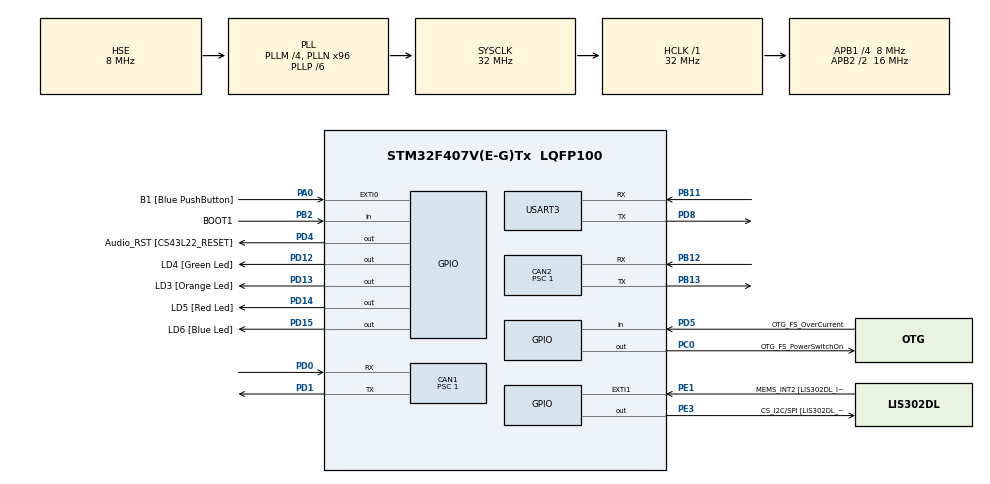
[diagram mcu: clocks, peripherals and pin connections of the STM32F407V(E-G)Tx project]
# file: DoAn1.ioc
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CAN1.BS1=CAN_BS1_11TQ
CAN1.BS2=CAN_BS2_4TQ
CAN1.CalculateBaudRate=500000
CAN1.CalculateTimeBit=2000
CAN1.CalculateTimeQuantum=125.0
CAN1.Prescaler=1
CAN1.SJW=CAN_SJW_2TQ
CAN2.BS1=CAN_BS1_11TQ
CAN2.BS2=CAN_BS2_4TQ
CAN2.CalculateBaudRate=500000
CAN2.CalculateTimeBit=2000
CAN2.CalculateTimeQuantum=125.0
CAN2.Prescaler=1
CAN2.SJW=CAN_SJW_2TQ
Mcu.Family=STM32F4
Mcu.Name=STM32F407V(E-G)Tx
Mcu.Package=LQFP100
NVIC.CAN1_RX0_IRQn=true\:2\:0\:true\:false\:true\:true\:true\:true
NVIC.CAN2_RX0_IRQn=true\:2\:0\:true\:false\:true\:true\:true\:true
NVIC.EXTI1_IRQn=true\:3\:0\:true\:false\:true\:true\:true\:true
NVIC.PriorityGroup=NVIC_PRIORITYGROUP_2
NVIC.USART3_IRQn=true\:1\:0\:true\:false\:true\:true\:true\:true
PA0-WKUP.GPIO_Label=B1 [Blue PushButton]
PA0-WKUP.GPIO_ModeDefaultEXTI=GPIO_MODE_EVT_RISING
PA0-WKUP.GPIO_PuPd=GPIO_NOPULL
PA0-WKUP.Signal=GPXTI0
PA10.GPIO_Label=OTG_FS_ID
PA10.GPIO_Mode=GPIO_MODE_AF_PP
PA10.GPIO_PuPd=GPIO_NOPULL
PA10.GPIO_Speed=GPIO_SPEED_FREQ_LOW
PA10.Signal=USB_OTG_FS_ID
PA11.GPIO_Label=OTG_FS_DM
PA11.GPIO_Mode=GPIO_MODE_AF_PP
PA11.GPIO_PuPd=GPIO_NOPULL
PA11.GPIO_Speed=GPIO_SPEED_FREQ_LOW
PA11.Signal=USB_OTG_FS_DM
PA12.GPIO_Label=OTG_FS_DP
PA12.GPIO_Mode=GPIO_MODE_AF_PP
PA12.GPIO_PuPd=GPIO_NOPULL
PA12.GPIO_Speed=GPIO_SPEED_FREQ_LOW
PA12.Signal=USB_OTG_FS_DP
PA13.GPIO_Label=SWDIO
PA13.Mode=Serial_Wire
PA13.Signal=SYS_JTMS-SWDIO
PA14.GPIO_Label=SWCLK
PA14.Mode=Serial_Wire
PA14.Signal=SYS_JTCK-SWCLK
PA4.GPIO_Label=I2S3_WS [CS43L22_LRCK]
PA4.GPIO_Mode=GPIO_MODE_AF_PP
PA4.GPIO_PuPd=GPIO_NOPULL
PA4.GPIO_Speed=GPIO_SPEED_FREQ_LOW
PA4.Signal=I2S3_WS
PA5.GPIO_Label=SPI1_SCK [LIS302DL_SCL/SPC]
PA5.GPIO_Mode=GPIO_MODE_AF_PP
PA5.GPIO_PuPd=GPIO_NOPULL
PA5.GPIO_Speed=GPIO_SPEED_FREQ_LOW
PA5.Signal=SPI1_SCK
PA6.GPIO_Label=SPI1_MISO [LIS302DL_SDO]
PA6.GPIO_Mode=GPIO_MODE_AF_PP
PA6.GPIO_PuPd=GPIO_NOPULL
PA6.GPIO_Speed=GPIO_SPEED_FREQ_LOW
PA6.Signal=SPI1_MISO
PA7.GPIO_Label=SPI1_MOSI [LIS302DL_SDA/SDI/SDO]
PA7.GPIO_Mode=GPIO_MODE_AF_PP
PA7.GPIO_PuPd=GPIO_NOPULL
PA7.GPIO_Speed=GPIO_SPEED_FREQ_LOW
PA7.Signal=SPI1_MOSI
PA9.GPIO_Label=VBUS_FS
PA9.GPIO_Mode=GPIO_MODE_INPUT
PA9.GPIO_PuPd=GPIO_NOPULL
PA9.Signal=USB_OTG_FS_VBUS
PB10.GPIO_Label=CLK_IN [MP45DT02_CLK]
PB10.GPIO_Mode=GPIO_MODE_AF_PP
PB10.GPIO_PuPd=GPIO_NOPULL
PB10.GPIO_Speed=GPIO_SPEED_FREQ_LOW
PB10.Signal=I2S2_CK
PB11.Mode=Asynchronous
PB11.Signal=USART3_RX
PB12.Mode=CAN_Activate
PB12.Signal=CAN2_RX
PB13.Mode=CAN_Activate
PB13.Signal=CAN2_TX
PB2.GPIO_Label=BOOT1
PB2.GPIO_Mode=GPIO_MODE_INPUT
PB2.GPIO_PuPd=GPIO_NOPULL
PB2.Signal=GPIO_Input
PB3.GPIO_Label=SWO
PB3.Signal=SYS_JTDO-SWO
PB6.GPIO_Label=Audio_SCL [CS43L22_SCL]
PB6.GPIO_Mode=GPIO_MODE_AF_OD
PB6.GPIO_Pu=GPIO_PULLUP
PB6.GPIO_PuPd=GPIO_NOPULL
PB6.GPIO_Speed=GPIO_SPEED_FREQ_LOW
PB6.Signal=I2C1_SCL
PB9.GPIO_Label=Audio_SDA [CS43L22_SDA]
PB9.GPIO_Mode=GPIO_MODE_AF_OD
PB9.GPIO_Pu=GPIO_PULLUP
PB9.GPIO_PuPd=GPIO_NOPULL
PB9.GPIO_Speed=GPIO_SPEED_FREQ_LOW
PB9.Signal=I2C1_SDA
PC0.GPIO_Label=OTG_FS_PowerSwitchOn
PC0.GPIO_PuPd=GPIO_NOPULL
PC0.GPIO_Speed=GPIO_SPEED_FREQ_LOW
PC0.PinState=GPIO_PIN_SET
PC0.Signal=GPIO_Output
PC10.GPIO_Label=I2S3_SCK [CS43L22_SCLK]
PC10.GPIO_Mode=GPIO_MODE_AF_PP
PC10.GPIO_PuPd=GPIO_NOPULL
PC10.GPIO_Speed=GPIO_SPEED_FREQ_LOW
PC10.Signal=I2S3_CK
PC12.GPIO_Label=I2S3_SD [CS43L22_SDIN]
PC12.GPIO_Mode=GPIO_MODE_AF_PP
PC12.GPIO_PuPd=GPIO_NOPULL
PC12.GPIO_Speed=GPIO_SPEED_FREQ_LOW
PC12.Signal=I2S3_SD
PC14-OSC32_IN.GPIO_Label=PC14-OSC32_IN
PC14-OSC32_IN.Mode=LSE-External-Oscillator
PC14-OSC32_IN.Signal=RCC_OSC32_IN
PC15-OSC32_OUT.GPIO_Label=PC15-OSC32_OUT
PC15-OSC32_OUT.Mode=LSE-External-Oscillator
PC15-OSC32_OUT.Signal=RCC_OSC32_OUT
PC3.GPIO_Label=PDM_OUT [MP45DT02_DOUT]
PC3.GPIO_Mode=GPIO_MODE_AF_PP
PC3.GPIO_PuPd=GPIO_NOPULL
PC3.GPIO_Speed=GPIO_SPEED_FREQ_LOW
PC3.Signal=I2S2_SD
PC7.GPIO_Label=I2S3_MCK [CS43L22_MCLK]
PC7.GPIO_Mode=GPIO_MODE_AF_PP
PC7.GPIO_PuPd=GPIO_NOPULL
PC7.GPIO_Speed=GPIO_SPEED_FREQ_LOW
PC7.Signal=I2S3_MCK
PD0.Mode=CAN_Activate
PD0.Signal=CAN1_RX
PD1.Mode=CAN_Activate
PD1.Signal=CAN1_TX
PD12.GPIO_Label=LD4 [Green Led]
PD12.GPIO_PuPd=GPIO_NOPULL
PD12.GPIO_Speed=GPIO_SPEED_FREQ_LOW
PD12.Signal=GPIO_Output
PD13.GPIO_Label=LD3 [Orange Led]
PD13.GPIO_PuPd=GPIO_NOPULL
PD13.GPIO_Speed=GPIO_SPEED_FREQ_LOW
PD13.Signal=GPIO_Output
PD14.GPIO_Label=LD5 [Red Led]
PD14.GPIO_PuPd=GPIO_NOPULL
PD14.GPIO_Speed=GPIO_SPEED_FREQ_LOW
PD14.Signal=GPIO_Output
PD15.GPIO_Label=LD6 [Blue Led]
PD15.GPIO_PuPd=GPIO_NOPULL
PD15.GPIO_Speed=GPIO_SPEED_FREQ_LOW
PD15.Signal=GPIO_Output
PD4.GPIO_Label=Audio_RST [CS43L22_RESET]
PD4.GPIO_PuPd=GPIO_NOPULL
PD4.GPIO_Speed=GPIO_SPEED_FREQ_LOW
PD4.Signal=GPIO_Output
PD5.GPIO_Label=OTG_FS_OverCurrent
PD5.GPIO_Mode=GPIO_MODE_INPUT
PD5.GPIO_PuPd=GPIO_NOPULL
PD5.Signal=GPIO_Input
PD8.Mode=Asynchronous
PD8.Signal=USART3_TX
PE1.GPIO_Label=MEMS_INT2 [LIS302DL_INT2]
PE1.GPIO_ModeDefaultEXTI=GPIO_MODE_IT_FALLING
PE1.GPIO_PuPd=GPIO_PULLUP
PE1.Signal=GPXTI1
PE3.GPIO_Label=CS_I2C/SPI [LIS302DL_CS_I2C/SPI]
PE3.GPIO_PuPd=GPIO_NOPULL
PE3.GPIO_Speed=GPIO_SPEED_FREQ_LOW
PE3.Signal=GPIO_Output
PH0-OSC_IN.GPIO_Label=PH0-OSC_IN
PH0-OSC_IN.Mode=HSE-External-Oscillator
PH0-OSC_IN.Signal=RCC_OSC_IN
PH1-OSC_OUT.GPIO_Label=PH1-OSC_OUT
PH1-OSC_OUT.Mode=HSE-External-Oscillator
PH1-OSC_OUT.Signal=RCC_OSC_OUT
ProjectManager.HeapSize=0x200
ProjectManager.StackSize=0x400
ProjectManager.TargetToolchain=STM32CubeIDE
RCC.48MHZClocksFreq_Value=48000000
RCC.AHBFreq_Value=32000000
RCC.APB1CLKDivider=RCC_HCLK_DIV4
RCC.APB1Freq_Value=8000000
RCC.APB1TimFreq_Value=16000000
RCC.APB2CLKDivider=RCC_HCLK_DIV2
RCC.APB2Freq_Value=16000000
RCC.APB2TimFreq_Value=32000000
RCC.CortexFreq_Value=32000000
RCC.HCLKFreq_Value=32000000
RCC.HSE_VALUE=8000000
RCC.HSI_VALUE=16000000
RCC.PLLI2SN=50
RCC.PLLM=4
RCC.PLLN=96
RCC.PLLP=RCC_PLLP_DIV6
RCC.PLLSourceVirtual=RCC_PLLSOURCE_HSE
RCC.SYSCLKFreq_VALUE=32000000
RCC.SYSCLKSource=RCC_SYSCLKSOURCE_PLLCLK
RCC.VCOOutputFreq_Value=192000000
USART3.VirtualMode=VM_ASYNC
board=STM32F407G-DISC1

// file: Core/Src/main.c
/* USER CODE BEGIN Header */
/**
  ******************************************************************************
  * @file           : main.c
  * @brief          : Main program body
  ******************************************************************************
  * @attention
  *
  * Copyright (c) 2025 STMicroelectronics.
  * All rights reserved.
  *
  * This software is licensed under terms that can be found in the LICENSE file
  * in the root directory of this software component.
  * If no LICENSE file comes with this software, it is provided AS-IS.
  *
  ******************************************************************************
  */
/* USER CODE END Header */
#include "main.h"

UART_HandleTypeDef huart3;
CAN_HandleTypeDef hcan1;
CAN_HandleTypeDef hcan2;
uint8_t uart3_receive;
uint8_t  REQ_1BYTE_DATA;
uint8_t CAN1_DATA_TX[8] = {0x00,0x00,0x00,0x00,0x00,0x00,0x00,0x00};
uint8_t CAN1_DATA_RX[8] = {0x00,0x00,0x00,0x00,0x00,0x00,0x00,0x00};
uint8_t CAN2_DATA_TX[8] = {0x00,0x00,0x00,0x00,0x00,0x00,0x00,0x00};
uint8_t CAN2_DATA_RX[8] = {0x00,0x00,0x00,0x00,0x00,0x00,0x00,0x00};
char bufsend[30]="XXX: D1 D2 D3 D4 D5 D6 D7 D8  ";
CAN_TxHeaderTypeDef CAN1_pHeader;
CAN_RxHeaderTypeDef CAN1_pHeaderRx;
CAN_FilterTypeDef CAN1_sFilterConfig;
CAN_TxHeaderTypeDef CAN2_pHeader;
CAN_RxHeaderTypeDef CAN2_pHeaderRx;
CAN_FilterTypeDef CAN2_sFilterConfig;
uint32_t CAN1_pTxMailbox;
uint32_t CAN2_pTxMailbox;
uint16_t NumBytesReq = 0;
uint8_t  REQ_BUFFER  [4096];
unsigned int TimeStamp;
uint8_t MessageCounter = 0;
uint8_t FlagForBtn = 0;
uint8_t flagCAN2Rx = 0;
/* USER CODE END PV */

void SystemClock_Config(void);
static void MX_GPIO_Init(void);
static void MX_CAN1_Init(void);
static void MX_CAN2_Init(void);
static void MX_USART3_UART_Init(void);
/* USER CODE BEGIN PFP */
uint8_t calc_SAE_J1850(uint8_t data[], uint8_t crc_len, uint8_t check);
void MX_CAN1_Setup();
void MX_CAN2_Setup();
void USART3_SendString(uint8_t *ch);
void PrintCANLog(uint16_t CANID, uint8_t * CAN_Frame);
void delay(uint16_t delay);
/* USER CODE END PFP */

/* USER CODE BEGIN 0 */
void CAN_Tx(CAN_HandleTypeDef *hcan, uint8_t *data_rx, uint8_t *data_tx);
void HAL_CAN_RxFifo0MsgPendingCallback(CAN_HandleTypeDef *hcan);
void HAL_GPIO_EXTI_Callback(uint16_t GPIO_Pin);
/* USER CODE END 0 */

int main(void)
{
  /* MCU Configuration--------------------------------------------------------*/
  /* Reset of all peripherals, Initializes the Flash interface and the Systick. */
  HAL_Init();
  /* Configure the system clock */
  SystemClock_Config();
  /* Initialize all configured peripherals */
  MX_GPIO_Init();
  MX_CAN1_Init();
  MX_CAN2_Init();
  MX_USART3_UART_Init();
  MX_CAN1_Setup();
  MX_CAN2_Setup();
  __HAL_UART_ENABLE_IT(&huart3, UART_IT_RXNE);
  while (1)
  {
	  CAN_Tx(&hcan1, CAN1_DATA_RX, CAN1_DATA_TX);
	  delay(2000);
	  CAN_Tx(&hcan2, CAN2_DATA_RX, CAN2_DATA_TX);
	  delay(1990);
	  MessageCounter = MessageCounter + 1;
  }
  memset(&REQ_BUFFER,0x00,4096);
  NumBytesReq = 0;
}
void SystemClock_Config(void)
{
  RCC_OscInitTypeDef RCC_OscInitStruct = {0};
  RCC_ClkInitTypeDef RCC_ClkInitStruct = {0};

  /** Configure the main internal regulator output voltage
  */
  __HAL_RCC_PWR_CLK_ENABLE();
  __HAL_PWR_VOLTAGESCALING_CONFIG(PWR_REGULATOR_VOLTAGE_SCALE1);

  /** Initializes the RCC Oscillators according to the specified parameters
  * in the RCC_OscInitTypeDef structure.
  */
  RCC_OscInitStruct.OscillatorType = RCC_OSCILLATORTYPE_HSE;
  RCC_OscInitStruct.HSEState = RCC_HSE_ON;
  RCC_OscInitStruct.PLL.PLLState = RCC_PLL_ON;
  RCC_OscInitStruct.PLL.PLLSource = RCC_PLLSOURCE_HSE;
  RCC_OscInitStruct.PLL.PLLM = 4;
  RCC_OscInitStruct.PLL.PLLN = 96;
  RCC_OscInitStruct.PLL.PLLP = RCC_PLLP_DIV6;
  RCC_OscInitStruct.PLL.PLLQ = 4;
  if (HAL_RCC_OscConfig(&RCC_OscInitStruct) != HAL_OK)
  {
    Error_Handler();
  }

  /** Initializes the CPU, AHB and APB buses clocks
  */
  RCC_ClkInitStruct.ClockType = RCC_CLOCKTYPE_HCLK|RCC_CLOCKTYPE_SYSCLK
                              |RCC_CLOCKTYPE_PCLK1|RCC_CLOCKTYPE_PCLK2;
  RCC_ClkInitStruct.SYSCLKSource = RCC_SYSCLKSOURCE_PLLCLK;
  RCC_ClkInitStruct.AHBCLKDivider = RCC_SYSCLK_DIV1;
  RCC_ClkInitStruct.APB1CLKDivider = RCC_HCLK_DIV4;
  RCC_ClkInitStruct.APB2CLKDivider = RCC_HCLK_DIV2;

  if (HAL_RCC_ClockConfig(&RCC_ClkInitStruct, FLASH_LATENCY_1) != HAL_OK)
  {
    Error_Handler();
  }
}

static void MX_CAN1_Init(void)
{

  hcan1.Instance = CAN1;
  hcan1.Init.Prescaler = 1;
  hcan1.Init.Mode = CAN_MODE_NORMAL;
  hcan1.Init.SyncJumpWidth = CAN_SJW_2TQ;
  hcan1.Init.TimeSeg1 = CAN_BS1_11TQ;
  hcan1.Init.TimeSeg2 = CAN_BS2_4TQ;
  hcan1.Init.TimeTriggeredMode = DISABLE;
  hcan1.Init.AutoBusOff = DISABLE;
  hcan1.Init.AutoWakeUp = DISABLE;
  hcan1.Init.AutoRetransmission = DISABLE;
  hcan1.Init.ReceiveFifoLocked = DISABLE;
  hcan1.Init.TransmitFifoPriority = DISABLE;
  if (HAL_CAN_Init(&hcan1) != HAL_OK)
  {
    Error_Handler();
  }
  CAN1_pHeader.StdId = 0x12;
  CAN1_pHeader.DLC = 8;
  CAN1_pHeader.IDE = CAN_ID_STD;
  CAN1_pHeader.RTR = CAN_RTR_DATA;

  CAN1_sFilterConfig.FilterActivation = CAN_FILTER_ENABLE;
  CAN1_sFilterConfig.FilterFIFOAssignment = CAN_RX_FIFO0;
  CAN1_sFilterConfig.SlaveStartFilterBank = 13;
  CAN1_sFilterConfig.FilterBank = 8;
  CAN1_sFilterConfig.FilterMode = CAN_FILTERMODE_IDMASK;
  CAN1_sFilterConfig.FilterScale = CAN_FILTERSCALE_16BIT;
  CAN1_sFilterConfig.FilterIdHigh = 0x0A2 << 5;
  CAN1_sFilterConfig.FilterIdLow = 0;
  CAN1_sFilterConfig.FilterMaskIdHigh = 0x0A2 << 5;
  CAN1_sFilterConfig.FilterMaskIdLow = 0;
}

static void MX_CAN2_Init(void)
{

  /* USER CODE BEGIN CAN2_Init 0 */
	CAN2_pHeader.StdId = 0xA2;
	CAN2_pHeader.DLC = 8;
	CAN2_pHeader.IDE = CAN_ID_STD;
	CAN2_pHeader.RTR = CAN_RTR_DATA;
  /* USER CODE END CAN2_Init 0 */

  hcan2.Instance = CAN2;
  hcan2.Init.Prescaler = 1;
  hcan2.Init.Mode = CAN_MODE_NORMAL;
  hcan2.Init.SyncJumpWidth = CAN_SJW_2TQ;
  hcan2.Init.TimeSeg1 = CAN_BS1_11TQ;
  hcan2.Init.TimeSeg2 = CAN_BS2_4TQ;
  hcan2.Init.TimeTriggeredMode = DISABLE;
  hcan2.Init.AutoBusOff = DISABLE;
  hcan2.Init.AutoWakeUp = DISABLE;
  hcan2.Init.AutoRetransmission = DISABLE;
  hcan2.Init.ReceiveFifoLocked = DISABLE;
  hcan2.Init.TransmitFifoPriority = DISABLE;
  if (HAL_CAN_Init(&hcan2) != HAL_OK)
  {
    Error_Handler();
  }
  /* USER CODE BEGIN CAN2_Init 2 */
  CAN2_sFilterConfig.FilterActivation = CAN_FILTER_ENABLE;
  CAN2_sFilterConfig.FilterFIFOAssignment = CAN_RX_FIFO0;
  CAN2_sFilterConfig.SlaveStartFilterBank = 13;
  CAN2_sFilterConfig.FilterBank = 19;
  CAN2_sFilterConfig.FilterMode = CAN_FILTERMODE_IDMASK;
  CAN2_sFilterConfig.FilterScale = CAN_FILTERSCALE_16BIT;
  CAN2_sFilterConfig.FilterIdHigh = 0x012 << 5;
  CAN2_sFilterConfig.FilterIdLow = 0;
  CAN2_sFilterConfig.FilterMaskIdHigh = 0x012 << 5;
  CAN2_sFilterConfig.FilterMaskIdLow = 0;
  /* USER CODE END CAN2_Init 2 */

}

static void MX_USART3_UART_Init(void)
{

  huart3.Instance = USART3;
  huart3.Init.BaudRate = 115200;
  huart3.Init.WordLength = UART_WORDLENGTH_8B;
  huart3.Init.StopBits = UART_STOPBITS_1;
  huart3.Init.Parity = UART_PARITY_NONE;
  huart3.Init.Mode = UART_MODE_TX_RX;
  huart3.Init.HwFlowCtl = UART_HWCONTROL_NONE;
  huart3.Init.OverSampling = UART_OVERSAMPLING_16;
  if (HAL_UART_Init(&huart3) != HAL_OK)
  {
    Error_Handler();
  }

}

static void MX_GPIO_Init(void)
{
  GPIO_InitTypeDef GPIO_InitStruct = {0};

  /* GPIO Ports Clock Enable */
  __HAL_RCC_GPIOE_CLK_ENABLE();
  __HAL_RCC_GPIOC_CLK_ENABLE();
  __HAL_RCC_GPIOH_CLK_ENABLE();
  __HAL_RCC_GPIOA_CLK_ENABLE();
  __HAL_RCC_GPIOB_CLK_ENABLE();
  __HAL_RCC_GPIOD_CLK_ENABLE();

  /*Configure GPIO pin Output Level */
  HAL_GPIO_WritePin(CS_I2C_SPI_GPIO_Port, CS_I2C_SPI_Pin, GPIO_PIN_RESET);

  /*Configure GPIO pin Output Level */
  HAL_GPIO_WritePin(OTG_FS_PowerSwitchOn_GPIO_Port, OTG_FS_PowerSwitchOn_Pin, GPIO_PIN_SET);

  /*Configure GPIO pin Output Level */
  HAL_GPIO_WritePin(GPIOD, LD4_Pin|LD3_Pin|LD5_Pin|LD6_Pin
                          |Audio_RST_Pin, GPIO_PIN_RESET);

  /*Configure GPIO pin : CS_I2C_SPI_Pin */
  GPIO_InitStruct.Pin = CS_I2C_SPI_Pin;
  GPIO_InitStruct.Mode = GPIO_MODE_OUTPUT_PP;
  GPIO_InitStruct.Pull = GPIO_NOPULL;
  GPIO_InitStruct.Speed = GPIO_SPEED_FREQ_LOW;
  HAL_GPIO_Init(CS_I2C_SPI_GPIO_Port, &GPIO_InitStruct);

  /*Configure GPIO pin : OTG_FS_PowerSwitchOn_Pin */
  GPIO_InitStruct.Pin = OTG_FS_PowerSwitchOn_Pin;
  GPIO_InitStruct.Mode = GPIO_MODE_OUTPUT_PP;
  GPIO_InitStruct.Pull = GPIO_NOPULL;
  GPIO_InitStruct.Speed = GPIO_SPEED_FREQ_LOW;
  HAL_GPIO_Init(OTG_FS_PowerSwitchOn_GPIO_Port, &GPIO_InitStruct);

  /*Configure GPIO pin : PDM_OUT_Pin */
  GPIO_InitStruct.Pin = PDM_OUT_Pin;
  GPIO_InitStruct.Mode = GPIO_MODE_AF_PP;
  GPIO_InitStruct.Pull = GPIO_NOPULL;
  GPIO_InitStruct.Speed = GPIO_SPEED_FREQ_LOW;
  GPIO_InitStruct.Alternate = GPIO_AF5_SPI2;
  HAL_GPIO_Init(PDM_OUT_GPIO_Port, &GPIO_InitStruct);

  /*Configure GPIO pin : B1_Pin */
  GPIO_InitStruct.Pin = B1_Pin;
  GPIO_InitStruct.Mode = GPIO_MODE_EVT_RISING;
  GPIO_InitStruct.Pull = GPIO_NOPULL;
  HAL_GPIO_Init(B1_GPIO_Port, &GPIO_InitStruct);

  /*Configure GPIO pin : I2S3_WS_Pin */
  GPIO_InitStruct.Pin = I2S3_WS_Pin;
  GPIO_InitStruct.Mode = GPIO_MODE_AF_PP;
  GPIO_InitStruct.Pull = GPIO_NOPULL;
  GPIO_InitStruct.Speed = GPIO_SPEED_FREQ_LOW;
  GPIO_InitStruct.Alternate = GPIO_AF6_SPI3;
  HAL_GPIO_Init(I2S3_WS_GPIO_Port, &GPIO_InitStruct);

  /*Configure GPIO pins : SPI1_SCK_Pin SPI1_MISO_Pin SPI1_MOSI_Pin */
  GPIO_InitStruct.Pin = SPI1_SCK_Pin|SPI1_MISO_Pin|SPI1_MOSI_Pin;
  GPIO_InitStruct.Mode = GPIO_MODE_AF_PP;
  GPIO_InitStruct.Pull = GPIO_NOPULL;
  GPIO_InitStruct.Speed = GPIO_SPEED_FREQ_LOW;
  GPIO_InitStruct.Alternate = GPIO_AF5_SPI1;
  HAL_GPIO_Init(GPIOA, &GPIO_InitStruct);

  /*Configure GPIO pin : BOOT1_Pin */
  GPIO_InitStruct.Pin = BOOT1_Pin;
  GPIO_InitStruct.Mode = GPIO_MODE_INPUT;
  GPIO_InitStruct.Pull = GPIO_NOPULL;
  HAL_GPIO_Init(BOOT1_GPIO_Port, &GPIO_InitStruct);

  /*Configure GPIO pin : CLK_IN_Pin */
  GPIO_InitStruct.Pin = CLK_IN_Pin;
  GPIO_InitStruct.Mode = GPIO_MODE_AF_PP;
  GPIO_InitStruct.Pull = GPIO_NOPULL;
  GPIO_InitStruct.Speed = GPIO_SPEED_FREQ_LOW;
  GPIO_InitStruct.Alternate = GPIO_AF5_SPI2;
  HAL_GPIO_Init(CLK_IN_GPIO_Port, &GPIO_InitStruct);

  /*Configure GPIO pins : LD4_Pin LD3_Pin LD5_Pin LD6_Pin
                           Audio_RST_Pin */
  GPIO_InitStruct.Pin = LD4_Pin|LD3_Pin|LD5_Pin|LD6_Pin
                          |Audio_RST_Pin;
  GPIO_InitStruct.Mode = GPIO_MODE_OUTPUT_PP;
  GPIO_InitStruct.Pull = GPIO_NOPULL;
  GPIO_InitStruct.Speed = GPIO_SPEED_FREQ_LOW;
  HAL_GPIO_Init(GPIOD, &GPIO_InitStruct);

  /*Configure GPIO pins : I2S3_MCK_Pin I2S3_SCK_Pin I2S3_SD_Pin */
  GPIO_InitStruct.Pin = I2S3_MCK_Pin|I2S3_SCK_Pin|I2S3_SD_Pin;
  GPIO_InitStruct.Mode = GPIO_MODE_AF_PP;
  GPIO_InitStruct.Pull = GPIO_NOPULL;
  GPIO_InitStruct.Speed = GPIO_SPEED_FREQ_LOW;
  GPIO_InitStruct.Alternate = GPIO_AF6_SPI3;
  HAL_GPIO_Init(GPIOC, &GPIO_InitStruct);

  /*Configure GPIO pin : VBUS_FS_Pin */
  GPIO_InitStruct.Pin = VBUS_FS_Pin;
  GPIO_InitStruct.Mode = GPIO_MODE_INPUT;
  GPIO_InitStruct.Pull = GPIO_NOPULL;
  HAL_GPIO_Init(VBUS_FS_GPIO_Port, &GPIO_InitStruct);

  /*Configure GPIO pins : OTG_FS_ID_Pin OTG_FS_DM_Pin OTG_FS_DP_Pin */
  GPIO_InitStruct.Pin = OTG_FS_ID_Pin|OTG_FS_DM_Pin|OTG_FS_DP_Pin;
  GPIO_InitStruct.Mode = GPIO_MODE_AF_PP;
  GPIO_InitStruct.Pull = GPIO_NOPULL;
  GPIO_InitStruct.Speed = GPIO_SPEED_FREQ_LOW;
  GPIO_InitStruct.Alternate = GPIO_AF10_OTG_FS;
  HAL_GPIO_Init(GPIOA, &GPIO_InitStruct);

  /*Configure GPIO pin : OTG_FS_OverCurrent_Pin */
  GPIO_InitStruct.Pin = OTG_FS_OverCurrent_Pin;
  GPIO_InitStruct.Mode = GPIO_MODE_INPUT;
  GPIO_InitStruct.Pull = GPIO_NOPULL;
  HAL_GPIO_Init(OTG_FS_OverCurrent_GPIO_Port, &GPIO_InitStruct);

  /*Configure GPIO pins : Audio_SCL_Pin Audio_SDA_Pin */
  GPIO_InitStruct.Pin = Audio_SCL_Pin|Audio_SDA_Pin;
  GPIO_InitStruct.Mode = GPIO_MODE_AF_OD;
  GPIO_InitStruct.Pull = GPIO_PULLUP;
  GPIO_InitStruct.Speed = GPIO_SPEED_FREQ_LOW;
  GPIO_InitStruct.Alternate = GPIO_AF4_I2C1;
  HAL_GPIO_Init(GPIOB, &GPIO_InitStruct);

  /*Configure GPIO pin : MEMS_INT2_Pin */
  GPIO_InitStruct.Pin = MEMS_INT2_Pin;
  GPIO_InitStruct.Mode = GPIO_MODE_IT_FALLING;
  GPIO_InitStruct.Pull = GPIO_PULLUP;
  HAL_GPIO_Init(MEMS_INT2_GPIO_Port, &GPIO_InitStruct);

  /* EXTI interrupt init*/
  HAL_NVIC_SetPriority(EXTI1_IRQn, 3, 0);
  HAL_NVIC_EnableIRQ(EXTI1_IRQn);

}

/* USER CODE BEGIN 4 */
void MX_CAN1_Setup()
{
	HAL_CAN_ConfigFilter(&hcan1, &CAN1_sFilterConfig);
	HAL_CAN_Start(&hcan1);
	HAL_CAN_ActivateNotification(&hcan1, CAN_IT_RX_FIFO0_MSG_PENDING);
}
void MX_CAN2_Setup()
{
	HAL_CAN_ConfigFilter(&hcan2, &CAN2_sFilterConfig);
	HAL_CAN_Start(&hcan2);
	HAL_CAN_ActivateNotification(&hcan2, CAN_IT_RX_FIFO0_MSG_PENDING);
}

void USART3_SendString(uint8_t *ch)
{
   while(*ch!=0)
   {
      HAL_UART_Transmit(&huart3, ch, 1,HAL_MAX_DELAY);
      ch++;
   }
}
void PrintCANLog(uint16_t CAN_ID, uint8_t * CAN_Frame)
{
	uint16_t loopIndx = 0;
	char bufID[3] = "   ";
	char bufDat[2] = "  ";
	char bufTime [8]="        ";

	sprintf(bufTime,"%d",TimeStamp);
	USART3_SendString((uint8_t*)bufTime);
	USART3_SendString((uint8_t*)" ");

	sprintf(bufID,"%03X",CAN_ID);
	for(loopIndx = 0; loopIndx < 3; loopIndx ++)
	{
		bufsend[loopIndx]  = bufID[loopIndx];
	}
	bufsend[3] = ':';
	bufsend[4] = ' ';

	for(loopIndx = 0; loopIndx < 8; loopIndx ++ )
	{
		sprintf(bufDat,"%02X",CAN_Frame[loopIndx]);
		bufsend[loopIndx*3 + 5] = bufDat[0];
		bufsend[loopIndx*3 + 6] = bufDat[1];
		bufsend[loopIndx*3 + 7] = ' ';
	}
	bufsend[29] = '\n';
	USART3_SendString((unsigned char*)bufsend);
}
void HAL_UART_RxCpltCallback(UART_HandleTypeDef *huart)
{
	REQ_BUFFER[NumBytesReq] = REQ_1BYTE_DATA;
	NumBytesReq++;
	//REQ_BUFFER[7] = NumBytesReq;
}
void delay(uint16_t delay)
{
	HAL_Delay(delay);
}
uint8_t calc_SAE_J1850(uint8_t data[], uint8_t crc_len, uint8_t check)
{
    uint8_t idx, crc, temp1, temp2, idy;
    crc = check;
    idx = 0;
    idy = 0;
    temp1 = 0;
    temp2 = 0;
    for(idx=0;idx < crc_len+1;idx++)
    {
        if(idx == 0)
        {
            temp1 = 0;
        }
        else
        {
            temp1 = data[crc_len-idx];
        }
        crc = (crc^temp1);
        for(idy=(uint8_t)8; idy>0; idy--)
        {
            // Save the value before the top bit is shifted out.
            temp2 = crc;
            crc <<= 1;
            if (0 != (temp2 & (uint8_t)128))
                crc ^= 0x1D;
        }
    }
    return crc;
}
void CAN_Tx(CAN_HandleTypeDef *hcan, uint8_t *data_rx, uint8_t *data_tx){
	if(((data_rx[7] == calc_SAE_J1850(data_rx,7,0)) && (FlagForBtn == 0)) || ((FlagForBtn == 1) && (hcan == &hcan2))){
		data_tx[0] = 0x00;
		data_tx[1] = 0xA2;
		data_tx[2] = 0xA2;
	}
	else{
		data_tx[0] = 0x00;
		data_tx[1] = 0x12;
	}
	data_tx[6] = MessageCounter;
	if(FlagForBtn == 0){
		data_tx[7] = calc_SAE_J1850(data_tx,7,0);
	}
	else{
		if(hcan == &hcan2) CAN2_DATA_TX[7] = calc_SAE_J1850(CAN2_DATA_TX,7,0);
	}
	char buffer[10];
	sprintf(buffer, "CAN %u TX\n", (hcan == &hcan1) ? 1 : 2);
	USART3_SendString((unsigned char *)buffer);
	uint8_t id = (hcan == &hcan1) ? 0x12 : 0xA2;
	PrintCANLog(id, data_tx);
	if(hcan == &hcan1){
		HAL_CAN_AddTxMessage(hcan, &CAN1_pHeader, data_tx, &CAN1_pTxMailbox);
	}
	else if(hcan == &hcan2){
		HAL_CAN_AddTxMessage(hcan, &CAN2_pHeader, data_tx, &CAN2_pTxMailbox);
	}
	MessageCounter = MessageCounter & 0xF;
}
void HAL_CAN_RxFifo0MsgPendingCallback(CAN_HandleTypeDef *hcan){
	if(hcan == &hcan1){
		HAL_CAN_GetRxMessage(&hcan1, CAN_RX_FIFO0, &CAN1_pHeaderRx, CAN1_DATA_RX);
		char buffer1[10] = "CAN 1 RX\n";
		USART3_SendString((unsigned char *)buffer1);
		PrintCANLog(0xA2, CAN1_DATA_RX);
	}
	else if(hcan == &hcan2){
		HAL_CAN_GetRxMessage(&hcan2, CAN_RX_FIFO0, &CAN2_pHeaderRx, CAN2_DATA_RX);
		if(CAN2_DATA_RX[7] == calc_SAE_J1850(CAN2_DATA_RX,7,0)){
			char buffer2[10] = "CAN 2 RX\n";
			USART3_SendString((unsigned char *)buffer2);
			PrintCANLog(0x12, CAN2_DATA_RX);
		}
		else{
			char buffer3[26] = "CAN 2 RX NOT RECEIVE DUE TO WRONG CRC\n";
			USART3_SendString((unsigned char *)buffer3);
		}
	}
}
void HAL_GPIO_EXTI_Callback(uint16_t GPIO_Pin)
{
	if(GPIO_Pin == GPIO_PIN_1)
	{
		delay(20);
		if(HAL_GPIO_ReadPin(GPIOE, GPIO_PIN_1) == GPIO_PIN_RESET)
		{
			switch(FlagForBtn)
			{
				case 0:
					FlagForBtn = FlagForBtn + 1;
					USART3_SendString((uint8_t *)"IG OFF\n");
					CAN1_DATA_TX[7] = calc_SAE_J1850(CAN1_DATA_TX,7,1);
					break;
				case 1:
					FlagForBtn = 0;
					USART3_SendString((uint8_t *)"-> IG ON\n");
					CAN1_DATA_TX[7] = calc_SAE_J1850(CAN1_DATA_TX,7,0);
					flagCAN2Rx = flagCAN2Rx +1;
					break;
				default:
					break;
			}
		}
	}
}
/* USER CODE END 4 */

void Error_Handler(void)
{
  __disable_irq();
  while (1)
  {
  }
}
